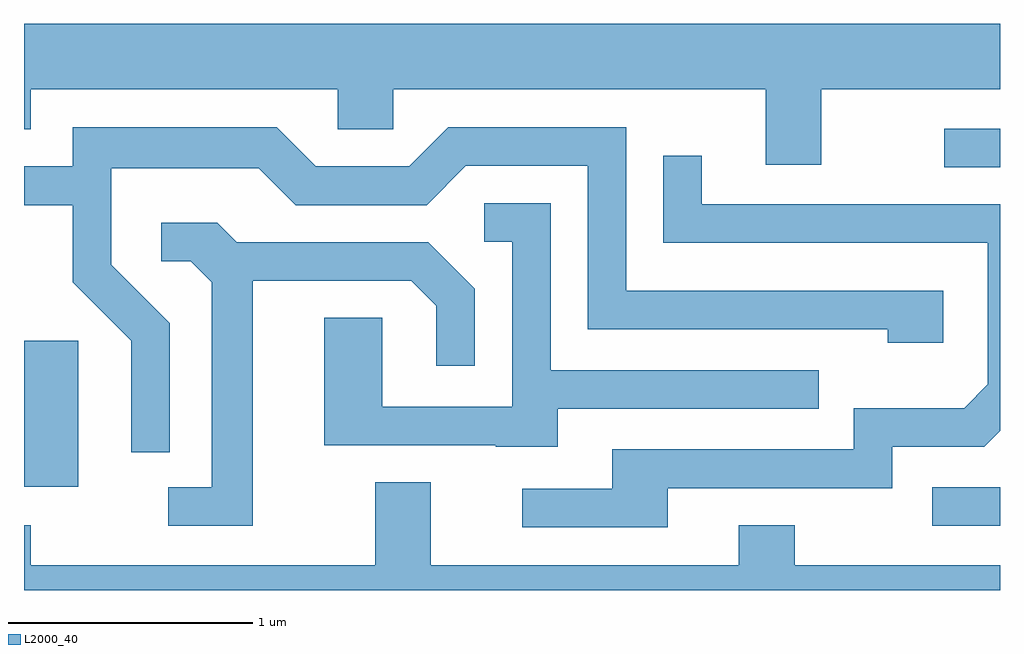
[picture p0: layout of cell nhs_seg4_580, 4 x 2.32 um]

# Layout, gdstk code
import gdstk
lib = gdstk.Library(unit=1e-6, precision=1e-09)
def R(c, l, rs):  # rectangles x0, y0, x1, y1
    for r in rs: c.add(gdstk.rectangle(r[:2], r[2:], *l))
def P(c, l, *ps):  # polygons
    for p in ps: c.add(gdstk.Polygon(p, *l))
L2000_40 = (2000, 40)

nhs_seg4_580 = lib.new_cell('nhs_seg4_580')
R(nhs_seg4_580, L2000_40, [(205.333,1326.246,205.611,1326.404), (201.611,1326.406,201.834,1327.004), (205.383,1327.716,205.611,1327.874)])
P(nhs_seg4_580, L2000_40, [(204.879,1328.036),(205.611,1328.036),(205.611,1328.304),(201.611,1328.304),(201.611,1327.871),(201.639,1327.871),(201.639,1328.036),(202.896,1328.036),(202.896,1327.871),(203.124,1327.871),(203.124,1328.036),(204.651,1328.036),(204.651,1327.726),(204.879,1327.726)],
  [(202.209,1327.077),(201.969,1327.317),(201.969,1327.711),(202.574,1327.711),(202.724,1327.561),(203.262,1327.561),(203.422,1327.721),(203.921,1327.721),(203.921,1327.051),(205.151,1327.051),(205.151,1326.996),(205.379,1326.996),(205.379,1327.209),(204.079,1327.209),(204.079,1327.879),(203.349,1327.879),(203.189,1327.719),(202.807,1327.719),(202.647,1327.879),(201.811,1327.879),(201.811,1327.719),(201.611,1327.719),(201.611,1327.561),(201.811,1327.561),(201.811,1327.244),(202.051,1327.004),(202.051,1326.548),(202.209,1326.548)],
  [(204.249,1326.401),(205.169,1326.401),(205.169,1326.571),(205.547,1326.571),(205.611,1326.635),(205.611,1327.564),(204.389,1327.564),(204.389,1327.763),(204.231,1327.763),(204.231,1327.406),(205.561,1327.406),(205.561,1326.827),(205.464,1326.729),(205.011,1326.729),(205.011,1326.559),(204.021,1326.559),(204.021,1326.399),(203.653,1326.399),(203.653,1326.241),(204.249,1326.241)],
  [(203.799,1326.726),(204.868,1326.726),(204.868,1326.884),(203.769,1326.884),(203.769,1327.569),(203.498,1327.569),(203.498,1327.411),(203.611,1327.411),(203.611,1326.734),(203.079,1326.734),(203.079,1327.099),(202.841,1327.099),(202.841,1326.576),(203.545,1326.576),(203.545,1326.571),(203.799,1326.571)],
  [(202.549,1327.251),(203.199,1327.251),(203.301,1327.149),(203.301,1326.903),(203.459,1326.903),(203.459,1327.217),(203.267,1327.409),(202.482,1327.409),(202.402,1327.489),(202.173,1327.489),(202.173,1327.331),(202.294,1327.331),(202.381,1327.244),(202.381,1326.404),(202.203,1326.404),(202.203,1326.246),(202.549,1326.246)],
  [(205.611,1326.084),(204.769,1326.084),(204.769,1326.249),(204.541,1326.249),(204.541,1326.084),(203.279,1326.084),(203.279,1326.424),(203.051,1326.424),(203.051,1326.084),(201.639,1326.084),(201.639,1326.249),(201.611,1326.249),(201.611,1325.982),(205.611,1325.982)])

lib.write_gds('nhs_seg4_580.gds')
